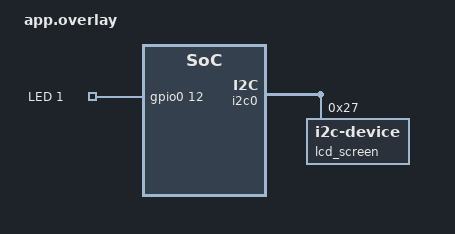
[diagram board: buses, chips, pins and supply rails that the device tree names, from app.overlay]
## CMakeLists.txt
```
# SPDX-License-Identifier: Apache-2.0

cmake_minimum_required(VERSION 3.20.0)

find_package(Zephyr REQUIRED HINTS $ENV{ZEPHYR_BASE})
project(hello_world)

target_sources(app PRIVATE 
    src/main.c
    src/lcd_screen_i2c.c 
)
```

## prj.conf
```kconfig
# nothing here
CONFIG_ESP32_USE_UNSUPPORTED_REVISION=y

#sensor
CONFIG_I2C=y
```

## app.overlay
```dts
/ {
    gpio_keys {
        compatible = "gpio-keys";
        ledyellow: led_yellow {
            gpios = <&gpio0 12 GPIO_ACTIVE_HIGH>;
            label = "LED 1";
        };
    };

    aliases {
        led-yellow = &ledyellow;
    };
};

// I2C device 
&i2c0 {
    lcd_screen: lcd_screen@27 { // I2C address 0x27
            compatible = "i2c-device";
            label = "lcd_screen";
            reg = <0x27>;
    };
};
```

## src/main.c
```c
/*
 * Copyright (c) 2012-2014 Wind River Systems, Inc.
 *
 * SPDX-License-Identifier: Apache-2.0
 */

// Test pour allumer une Led
#include <stdio.h>
#include <zephyr/kernel.h>
#include <zephyr/drivers/gpio.h>

#define LED_YELLOW_NODE DT_ALIAS(led_yellow)

const struct gpio_dt_spec led_yellow_gpio = GPIO_DT_SPEC_GET_OR(LED_YELLOW_NODE, gpios, {0});

int main(void)
{
	gpio_pin_configure_dt(&led_yellow_gpio, GPIO_OUTPUT_HIGH);

	return 0;
}
```

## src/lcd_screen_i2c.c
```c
#include "../include/lcd_screen_i2c.h"

#include <zephyr/kernel.h>

static void lcd_toggle_enable(const struct i2c_dt_spec *dev_lcd_screen, uint8_t bits);
static void lcd_byte(const struct i2c_dt_spec *dev_lcd_screen, uint8_t bits, uint8_t mode);

void init_lcd(const struct i2c_dt_spec *dev_lcd_screen)
{
    lcd_byte(dev_lcd_screen, 0x33, LCD_CMD);
    lcd_byte(dev_lcd_screen, 0x32, LCD_CMD);
    lcd_byte(dev_lcd_screen, 0x06, LCD_CMD);
    lcd_byte(dev_lcd_screen, 0x0c, LCD_CMD);
    lcd_byte(dev_lcd_screen, 0x28, LCD_CMD);
    lcd_byte(dev_lcd_screen, 0x01, LCD_CMD);
    write_lcd(dev_lcd_screen, HELLO_MSG, LCD_LINE_1);
    write_lcd(dev_lcd_screen, ZEPHYR_MSG, LCD_LINE_2);
}

static void lcd_byte(const struct i2c_dt_spec *dev_lcd_screen, uint8_t bits, uint8_t mode)
{
    int ret = 0;
    uint8_t bits_high = mode | (bits & 0xf0) | LCD_BACKLIGHT;
    uint8_t bits_low = mode | ((bits << 4) & 0xf0) | LCD_BACKLIGHT;
    ret = i2c_write_dt(dev_lcd_screen, bits_high, sizeof(bits_high));
    if (ret != 0)
    {
        printk("ERROR while writing to I2C");
    }
    lcd_toggle_enable(dev_lcd_screen, bits_high);

    ret = i2c_write_dt(dev_lcd_screen, bits_low, sizeof(bits_low));
    if (ret != 0)
    {
        printk("ERROR while writing to I2C");
    }
    lcd_toggle_enable(dev_lcd_screen, bits_low);
}

void write_lcd(const struct i2c_dt_spec *dev_lcd_screen, const char *msg, uint8_t line)
{
    lcd_byte(dev_lcd_screen, line, LCD_CMD);

    // Todo: fill the array with space at the end to complete the line

    if (strlen(msg) > LCD_WIDTH)
    {
        return;
    }
    for (uint8_t i = 0; i < strlen(msg); i++)
    {
        lcd_byte(dev_lcd_screen, msg[i], LCD_CHR);
    }
}

static void lcd_toggle_enable(const struct i2c_dt_spec *dev_lcd_screen, uint8_t bits)
{
    int ret = 0;
    k_sleep(K_MSEC(5));
    uint8_t bits1 = bits | LCD_ENABLE;
    ret = i2c_write_dt(&dev_lcd_screen, bits1, sizeof(bits1));
    if (ret != 0)
    {
        printk("ERROR while writing to I2C");
    }
    k_sleep(K_MSEC(5));
    uint8_t bits2 = bits & ~LCD_ENABLE;
    ret = i2c_write_dt(&dev_lcd_screen, bits2, sizeof(bits2));
    if (ret != 0)
    {
        printk("ERROR while writing to I2C");
    }
    k_sleep(K_MSEC(5));
}
```
